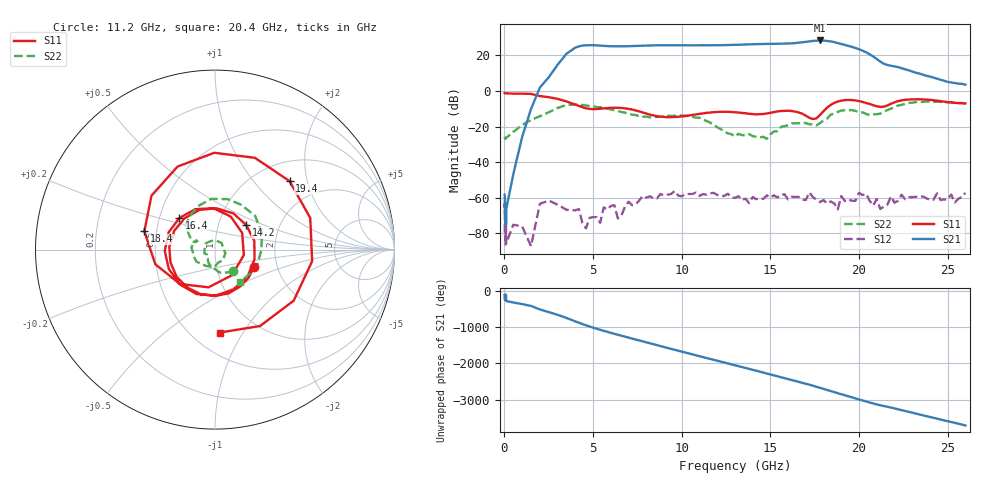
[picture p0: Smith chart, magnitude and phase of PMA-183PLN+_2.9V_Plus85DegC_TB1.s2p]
!Keysight Technologies,N5244A,MY52442000,A.10.40.14
!Date: Thursday, July 16, 2020 11:13:10
!Correction: S11(Full 2 Port(1,2))
!S21(Full 2 Port(1,2))
!S12(Full 2 Port(1,2))
!S22(Full 2 Port(1,2))
!S2P File: Measurements: S11, S21, S12, S22:
# Hz S  dB  R 50
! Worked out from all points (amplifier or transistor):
!   128 points, 10 MHz to 26 GHz, reference 50 ohm
!   highest |S21| = 28.5 dB at 17.8 GHz (marker M1)
!   |S21| within 3 dB of that: 7.562 GHz to 19.38 GHz (11.82 GHz wide, 87.7 % of centre)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
!   unconditionally stable (mu >= 1): start of sweep to end of sweep
!   at 4.8 GHz: K = 72.40, MAG = 26.9 dB, |S12| = -71.3 dB
!   at 13.4 GHz: K = 26.56, MAG = 26.4 dB, |S12| = -61.2 dB
!   at 26 GHz: K = 153.86, MAG = 5.5 dB, |S12| = -57.2 dB
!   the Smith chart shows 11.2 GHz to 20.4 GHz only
!   S11 on the Smith chart (normalised r, x): 11.2 GHz: 1.52, -0.30; 14.2 GHz: 1.36, +0.39; 16.4 GHz: 0.63, +0.24; 18.4 GHz: 0.43, +0.11; 19.4 GHz: 1.40, +1.57; 20.4 GHz: 0.68, -0.80
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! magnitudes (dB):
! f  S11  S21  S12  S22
! 10 MHz  -1.1  -58.2  -65.5  -25.7
! 20 MHz  -1.2  -58.6  -63.1  -26.1
! 30 MHz  -1.2  -68.4  -80.5  -26.2
! 50 MHz  -1.3  -70.1  -62.8  -26.7
! 70 MHz  -1.3  -75.2  -86.3  -26.8
! 80 MHz  -1.3  -64.3  -65.0  -26.5
! 90 MHz  -1.3  -74.9  -76.3  -26.3
! 1.5 GHz  -1.6  -10.1  -87.2  -16.2
! 2 GHz  -2.8  2.0  -63.4  -14.1
! 4.4 GHz  -9.1  25.6  -74.2  -7.8
! 8.8 GHz  -14.4  25.8  -57.9  -14.4
! 11.2 GHz  -12.5  25.7  -57.9  -16.1
! 13.2 GHz  -12.0  26.0  -59.1  -24.0
! 14.2 GHz  -13.1  26.4  -60.8  -25.8
! 16.4 GHz  -11.5  27.0  -59.4  -18.1
! 17.4 GHz  -15.7  28.2  -59.6  -18.6
! 17.8 GHz  -13.4  28.5  -62.4  -18.0
! 18.4 GHz  -7.8  27.9  -62.0  -13.3
! 19.4 GHz  -5.0  25.4  -60.9  -10.8
! 20.4 GHz  -6.7  21.8  -57.7  -12.8
! 21.8 GHz  -7.1  14.2  -59.2  -9.9
! 26 GHz  -6.9  3.6  -57.2  -7.1
